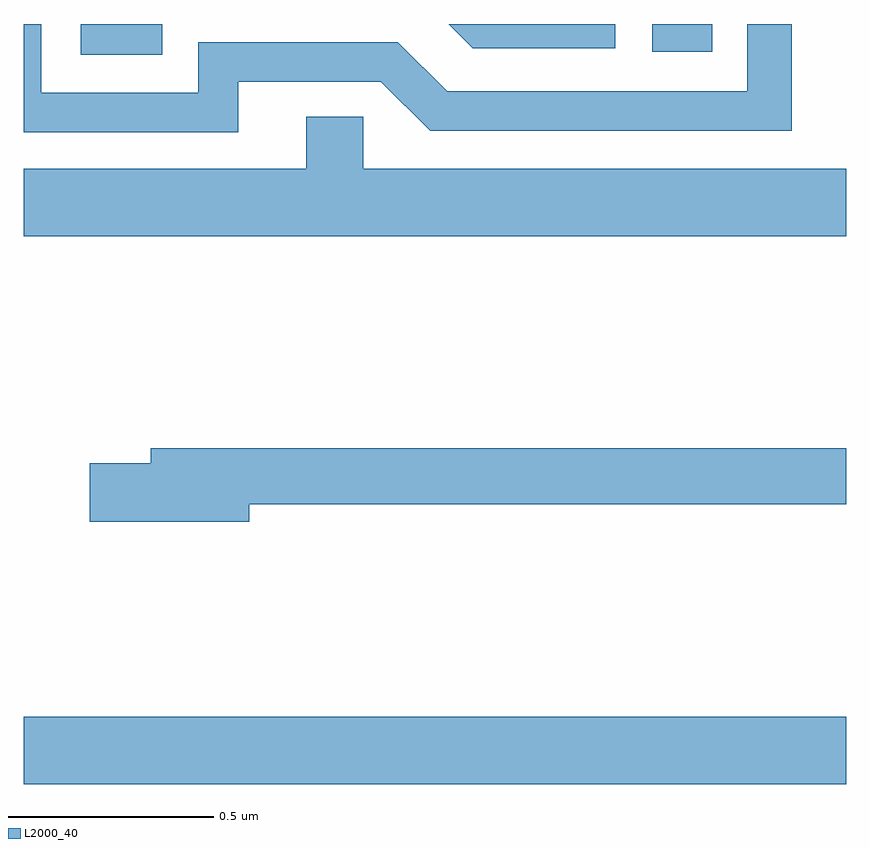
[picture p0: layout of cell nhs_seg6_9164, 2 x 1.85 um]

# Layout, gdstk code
import gdstk
lib = gdstk.Library(unit=1e-6, precision=1e-09)
def R(c, l, rs):  # rectangles x0, y0, x1, y1
    for r in rs: c.add(gdstk.rectangle(r[:2], r[2:], *l))
def P(c, l, *ps):  # polygons
    for p in ps: c.add(gdstk.Polygon(p, *l))
L2000_40 = (2000, 40)

nhs_seg6_9164 = lib.new_cell('nhs_seg6_9164')
R(nhs_seg6_9164, L2000_40, [(230,964.652,232,964.816), (230.139,966.425,230.337,966.5), (231.528,966.432,231.674,966.5)])
P(nhs_seg6_9164, L2000_40, [(231.438,966.5),(231.033,966.5),(231.092,966.441),(231.438,966.441)],
  [(230.521,966.36),(230.868,966.36),(230.988,966.24),(231.868,966.24),(231.868,966.5),(231.759,966.5),(231.759,966.336),(231.03,966.336),(230.91,966.456),(230.424,966.456),(230.424,966.333),(230.043,966.333),(230.043,966.5),(230,966.5),(230,966.237),(230.521,966.237)],
  [(232,966.148),(230.826,966.148),(230.826,966.275),(230.687,966.275),(230.687,966.148),(230,966.148),(230,965.984),(232,965.984)],
  [(230.548,965.332),(232,965.332),(232,965.468),(230.309,965.468),(230.309,965.432),(230.16,965.432),(230.16,965.29),(230.548,965.29)])

lib.write_gds('nhs_seg6_9164.gds')
